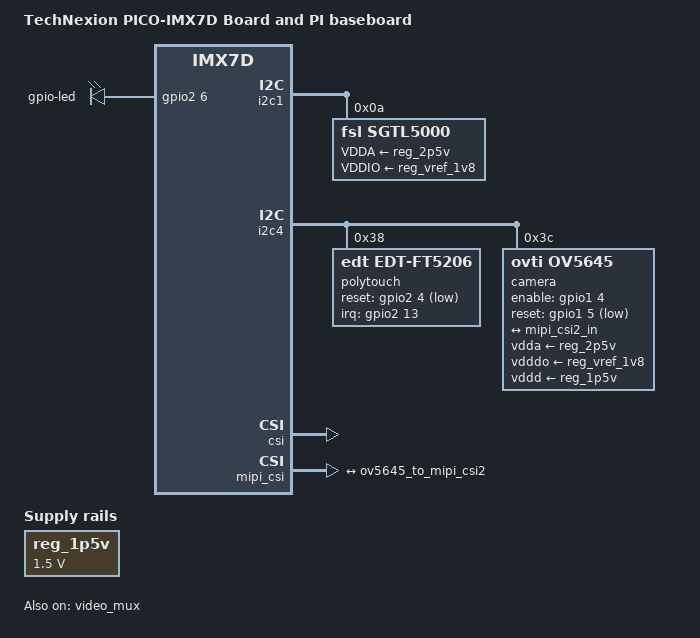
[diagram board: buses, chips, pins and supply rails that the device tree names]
// SPDX-License-Identifier: (GPL-2.0+ OR MIT)
//
// Copyright 2017 NXP

#include "imx7d-pico.dtsi"

/ {
	model = "TechNexion PICO-IMX7D Board and PI baseboard";
	compatible = "technexion,imx7d-pico-pi", "fsl,imx7d";

	leds {
		compatible = "gpio-leds";
		pinctrl-names = "default";
		pinctrl-0 = <&pinctrl_gpio_leds>;

		led {
			label = "gpio-led";
			gpios = <&gpio2 6 GPIO_ACTIVE_HIGH>;
		};
	};

	reg_1p5v: regulator-1p5v {
		compatible = "regulator-fixed";
		regulator-name = "1P5V";
		regulator-min-microvolt = <1500000>;
		regulator-max-microvolt = <1500000>;
	};

	sound {
		compatible = "simple-audio-card";
		simple-audio-card,name = "imx7-sgtl5000";
		simple-audio-card,format = "i2s";
		simple-audio-card,bitclock-master = <&dailink_master>;
		simple-audio-card,frame-master = <&dailink_master>;
		simple-audio-card,cpu {
			sound-dai = <&sai1>;
		};

		dailink_master: simple-audio-card,codec {
			sound-dai = <&sgtl5000>;
			clocks = <&clks IMX7D_AUDIO_MCLK_ROOT_DIV>;
		};
	};
};

&i2c1 {
	sgtl5000: codec@a {
		#sound-dai-cells = <0>;
		reg = <0x0a>;
		compatible = "fsl,sgtl5000";
		clocks = <&clks IMX7D_AUDIO_MCLK_ROOT_DIV>;
		VDDA-supply = <&reg_2p5v>;
		VDDIO-supply = <&reg_vref_1v8>;
	};
};

&i2c4 {
	polytouch: touchscreen@38 {
		compatible = "edt,edt-ft5206";
		reg = <0x38>;
		pinctrl-names = "default";
		pinctrl-0 = <&pinctrl_touchscreen>;
		interrupt-parent = <&gpio2>;
		interrupts = <13 IRQ_TYPE_EDGE_FALLING>;
		reset-gpios = <&gpio2 4 GPIO_ACTIVE_LOW>;
		touchscreen-size-x = <800>;
		touchscreen-size-y = <480>;
	};

	camera@3c {
		compatible = "ovti,ov5645";
		reg = <0x3c>;

		pinctrl-names = "default";
		pinctrl-0 = <&pinctrl_camera>;

		clocks = <&clks IMX7D_CLKO1_ROOT_DIV>;
		assigned-clocks = <&clks IMX7D_CLKO1_ROOT_DIV>;
		assigned-clock-rates = <24000000>;

		enable-gpios = <&gpio1 4 GPIO_ACTIVE_HIGH>;
		reset-gpios = <&gpio1 5 GPIO_ACTIVE_LOW>;

		vdda-supply = <&reg_2p5v>;
		vdddo-supply = <&reg_vref_1v8>;
		vddd-supply = <&reg_1p5v>;

		port {
			ov5645_to_mipi_csi2: endpoint {
				remote-endpoint = <&mipi_csi2_in>;
				clock-lanes = <0>;
				data-lanes = <1 2>;
			};
		};
	};
};

&usdhc1 {
	status = "disabled";
};

&iomuxc {
	pinctrl-names = "default";
	pinctrl-0 = <&pinctrl_hog>;

	pinctrl_hog: hoggrp {
		fsl,pins = <
			MX7D_PAD_EPDC_DATA00__GPIO2_IO0		0x14
			MX7D_PAD_EPDC_DATA01__GPIO2_IO1		0x14
			MX7D_PAD_EPDC_DATA02__GPIO2_IO2		0x14
			MX7D_PAD_EPDC_DATA03__GPIO2_IO3		0x14
			MX7D_PAD_EPDC_DATA05__GPIO2_IO5		0x14
			MX7D_PAD_EPDC_DATA12__GPIO2_IO12	0x14
			MX7D_PAD_EPDC_DATA07__GPIO2_IO7		0x14
		>;
	};

	pinctrl_gpio_leds: gpioledsgrp {
		fsl,pins = <
			MX7D_PAD_EPDC_DATA06__GPIO2_IO6		0x14
		>;
	};

	pinctrl_touchscreen: touchscreengrp {
		fsl,pins = <
			MX7D_PAD_EPDC_DATA04__GPIO2_IO4		0x14
			MX7D_PAD_EPDC_DATA13__GPIO2_IO13	0x14
		>;
	};
};

&iomuxc_lpsr {
	pinctrl_camera: cameragrp {
		fsl,pins = <
			MX7D_PAD_LPSR_GPIO1_IO04__GPIO1_IO4	0x15
			MX7D_PAD_LPSR_GPIO1_IO05__GPIO1_IO5	0x15
			MX7D_PAD_LPSR_GPIO1_IO02__CCM_CLKO1	0x7d
		>;
	};
};

&csi {
	status = "okay";
};

&mipi_csi {
	status = "okay";

	ports {
		port@0 {
			reg = <0>;

			mipi_csi2_in: endpoint {
				remote-endpoint = <&ov5645_to_mipi_csi2>;
				data-lanes = <1 2>;
			};
		};
	};
};

&video_mux {
	status = "okay";
};
